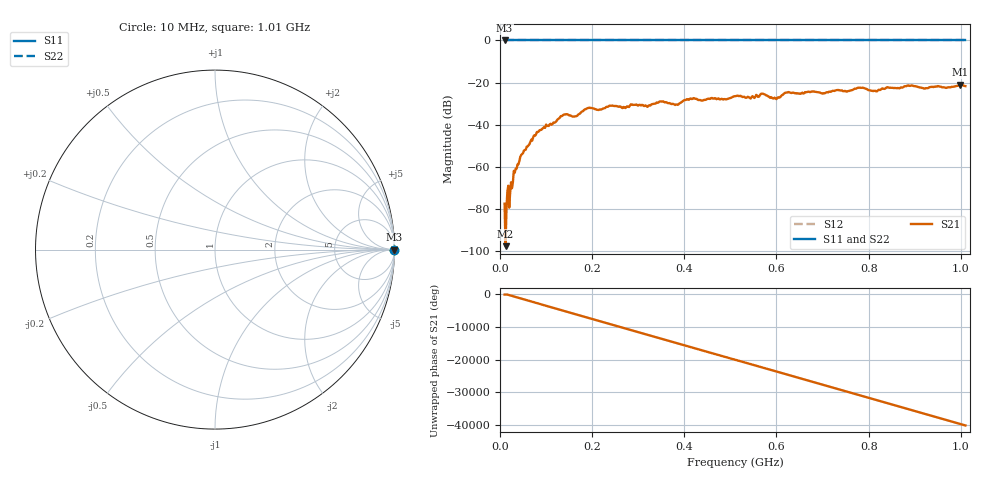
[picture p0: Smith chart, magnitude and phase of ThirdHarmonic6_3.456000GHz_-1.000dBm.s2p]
! 8/17/2025 11:10:45 AM
! C:\ANRITSUVNA\TEMP\TEMP.S2P
! CHANNEL.1
! TR.MEASUREMENT
! RAW.DATA
! RF.CORRECTION.OFF
! AVERAGING.OFF
! IF.BANDWIDTH: 5KHZ
! SWEEPTYPE:  FREQ.SWEEP(Linear)
! Reference Plane Port Info
! PORT:  PORT1  PORT2
! DISTANCE:  0  m  0  m
! TIME:  0  s  0  s
! PHASE.OFFSET:  0  deg.  0  deg.
! LOSS:  0  dB  0  dB
! REF.LOSS:  0  dB  0  dB
! REF.FREQ:  0  Hz  0  Hz
! Power Info
! POWER:  -20  dBm  -20  dBm
! EFF.POWER:  -20  dBm  -20  dBm
! SOURCE.ATTEN:  0  dB  0  dB
! TEST.ATTEN:  0  dB  0  dB
# GHZ S RI R 50.0
! FREQ.GHZ  S11RE  S11IM  S21RE  S21IM  S12RE  S12IM  S22RE  S22IM
!; PortSelection: Port_12
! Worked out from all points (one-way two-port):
!   501 points, 10 MHz to 1.01 GHz, reference 50 ohm
!   highest |S21| = -21.06 dB at 998 MHz (marker M1); lowest = -97.7 dB at 12 MHz (marker M2)
!   lowest |S11| = 0.0 dB at 10 MHz (marker M3)
!   |S11| at or under -10 dB: nowhere
!   |S22| runs from 0.0 to 0.0 dB; largest |S21 - S12| = 1.1
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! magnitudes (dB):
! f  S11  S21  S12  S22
! 10 MHz  0.0  -77.6  0.0  0.0
! 12 MHz  0.0  -97.7  0.0  0.0
! 20 MHz  0.0  -79.4  0.0  0.0
! 24 MHz  0.0  -67.4  0.0  0.0
! 26 MHz  0.0  -70.2  0.0  0.0
! 34 MHz  0.0  -60.9  0.0  0.0
! 46 MHz  0.0  -54.4  0.0  0.0
! 76 MHz  0.0  -45.3  0.0  0.0
! 136 MHz  0.0  -35.6  0.0  0.0
! 162 MHz  0.0  -36.1  0.0  0.0
! 178 MHz  0.0  -33.7  0.0  0.0
! 344 MHz  0.0  -29.4  0.0  0.0
! 384 MHz  0.0  -30.5  0.0  0.0
! 416 MHz  0.0  -27.8  0.0  0.0
! 510 MHz  0.0  -26.5  0.0  0.0
! 570 MHz  0.0  -25.3  0.0  0.0
! 596 MHz  0.0  -27.2  0.0  0.0
! 622 MHz  0.0  -24.8  0.0  0.0
! 678 MHz  0.0  -24.2  0.0  0.0
! 844 MHz  0.0  -22.5  0.0  0.0
! 998 MHz  0.0  -21.1  0.0  0.0
! 1.01 GHz  0.0  -21.7  0.0  0.0
